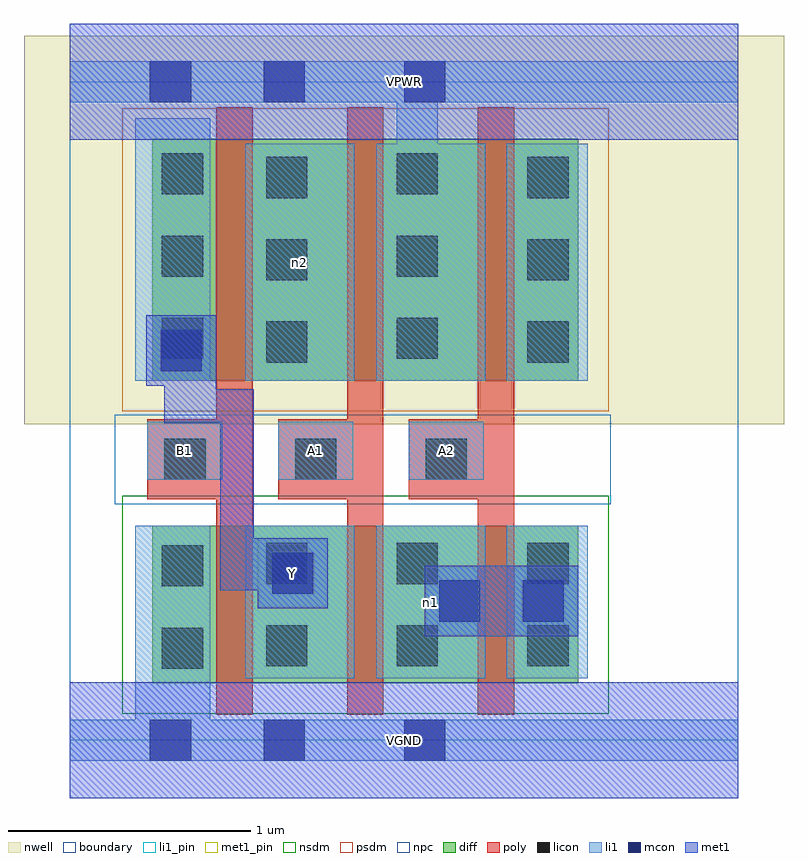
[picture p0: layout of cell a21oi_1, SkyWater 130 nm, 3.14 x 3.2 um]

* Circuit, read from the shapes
.subckt a21oi_1 A1 A2 B1 VGND VPWR Y n1 n2
XM1 Y B1 VGND VSUBS sky130_fd_pr__nfet_01v8 w=0.65 l=0.15
XM2 n1 A1 Y VSUBS sky130_fd_pr__nfet_01v8 w=0.65 l=0.15
XM3 n1 A2 n1 VSUBS sky130_fd_pr__nfet_01v8 w=0.65 l=0.15
XM4 n2 B1 Y n3 sky130_fd_pr__pfet_01v8 w=1 l=0.15
XM5 VPWR A1 n2 n3 sky130_fd_pr__pfet_01v8 w=1 l=0.15
XM6 n4 A2 VPWR n3 sky130_fd_pr__pfet_01v8 w=1 l=0.15
.ends

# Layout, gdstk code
import gdstk
lib = gdstk.Library(unit=1e-6, precision=1e-09)
def R(c, l, rs):  # rectangles x0, y0, x1, y1
    for r in rs: c.add(gdstk.rectangle(r[:2], r[2:], *l))
def A(c, l, x, y, w, h, nx, ny, dx, dy):  # array of equal rectangles
    R(c, l, [(x+i*dx, y+j*dy, x+i*dx+w, y+j*dy+h) for i in range(nx) for j in range(ny)])
nwell = (64, 20)
diff = (65, 20)
poly = (66, 20)
licon = (66, 44)
li1_pin = (67, 16)
li1 = (67, 20)
mcon = (67, 44)
met1_pin = (68, 16)
met1 = (68, 20)
nsdm = (93, 44)
psdm = (94, 20)
npc = (95, 20)
boundary = (235, 4)

a21oi_1 = lib.new_cell('a21oi_1')
R(a21oi_1, nwell, [(-0.19,1.305,2.95,2.91), (0,1.305,2.76,2.91)])
R(a21oi_1, diff, [(0.34,0.235,2.1,0.885), (0.34,1.485,2.1,2.485)])
A(a21oi_1, poly, 0.605, 0.105, 0.15, 2.51, 3, 1, 0.54, 0)
A(a21oi_1, poly, 0.32, 0.995, 0.435, 0.33, 3, 1, 0.54, 0)
A(a21oi_1, licon, 0.81, 0.305, 0.17, 0.17, 3, 2, 0.54, 0.34)
A(a21oi_1, licon, 0.39, 1.075, 0.17, 0.17, 3, 1, 0.54, 0)
A(a21oi_1, licon, 0.81, 1.56, 0.17, 0.17, 1, 3, 0, 0.34)
A(a21oi_1, licon, 1.89, 1.56, 0.17, 0.17, 1, 3, 0, 0.34)
A(a21oi_1, licon, 0.38, 1.575, 0.17, 0.17, 1, 3, 0, 0.34)
A(a21oi_1, licon, 1.35, 1.575, 0.17, 0.17, 1, 3, 0, 0.34)
R(a21oi_1, licon, [(0.38,0.295,0.55,0.465), (0.38,0.635,0.55,0.805)])
A(a21oi_1, li1_pin, 0.32, 1.075, 0.31, 0.24, 3, 1, 0.54, 0)
A(a21oi_1, li1, 0.32, 1.075, 0.31, 0.24, 3, 1, 0.54, 0)
R(a21oi_1, li1, [(0,-0.085,2.76,0.085), (0.27,-0.085,0.58,0.885), (0.38,-0.085,0.55,0.805), (0.725,0.255,1.175,0.885), (1.265,0.255,1.715,0.885), (1.805,0.255,2.14,0.885), (0.27,1.485,0.58,2.57), (0.725,1.485,1.175,2.465), (1.265,1.485,1.715,2.465), (1.805,1.485,2.14,2.465), (1.35,1.575,1.52,2.805), (0,2.635,2.76,2.805)])
R(a21oi_1, mcon, [(0.33,-0.085,0.5,0.085), (0.8,-0.085,0.97,0.085), (1.38,-0.085,1.55,0.085), (1.525,0.49,1.695,0.66), (1.87,0.49,2.04,0.66), (0.835,0.605,1.005,0.775), (0.375,1.525,0.545,1.695), (0.33,2.635,0.5,2.805), (0.8,2.635,0.97,2.805), (1.38,2.635,1.55,2.805)])
R(a21oi_1, met1_pin, [(0,-0.24,2.76,0.24), (0.775,0.545,1.065,0.835), (0,2.48,2.76,2.96)])
R(a21oi_1, met1, [(0,-0.24,2.76,0.24), (1.465,0.43,1.755,0.72), (1.755,0.43,1.81,0.72), (1.81,0.43,2.1,0.72), (1.54,0.505,2.025,0.645), (0.775,0.545,1.065,0.835), (0.62,0.62,0.99,0.76), (0.62,0.62,0.76,1.45), (0.76,0.62,0.775,0.835), (0.39,1.31,0.76,1.45), (0.39,1.31,0.53,1.68), (0.39,1.45,0.605,1.465), (0.315,1.465,0.605,1.755), (0,2.48,2.76,2.96)])
R(a21oi_1, nsdm, [(0.215,0.11,2.225,1.01)])
R(a21oi_1, psdm, [(0.215,1.36,2.225,2.61)])
R(a21oi_1, npc, [(0.185,0.975,2.235,1.345)])
R(a21oi_1, boundary, [(0,0,2.76,2.72)])
a21oi_1.add(gdstk.Label('B1', (0.475,1.195), layer=67, texttype=5))
a21oi_1.add(gdstk.Label('A1', (1.015,1.195), layer=67, texttype=5))
a21oi_1.add(gdstk.Label('A2', (1.555,1.195), layer=67, texttype=5))
a21oi_1.add(gdstk.Label('n1', (1.49,0.57), layer=67, texttype=5))
a21oi_1.add(gdstk.Label('n2', (0.95,1.975), layer=67, texttype=5))
a21oi_1.add(gdstk.Label('Y', (0.92,0.69), layer=68, texttype=5))
a21oi_1.add(gdstk.Label('VPWR', (1.38,2.72), layer=68, texttype=5))
a21oi_1.add(gdstk.Label('VGND', (1.38,0), layer=68, texttype=5))
a21oi_1.add(gdstk.Label('B1', (0.475,1.195), layer=67, texttype=16))
a21oi_1.add(gdstk.Label('A1', (1.015,1.195), layer=67, texttype=16))
a21oi_1.add(gdstk.Label('A2', (1.555,1.195), layer=67, texttype=16))
a21oi_1.add(gdstk.Label('Y', (0.92,0.69), layer=68, texttype=16))
a21oi_1.add(gdstk.Label('VPWR', (1.38,2.72), layer=68, texttype=16))
a21oi_1.add(gdstk.Label('VGND', (1.38,0), layer=68, texttype=16))

lib.write_gds('a21oi_1.gds')
